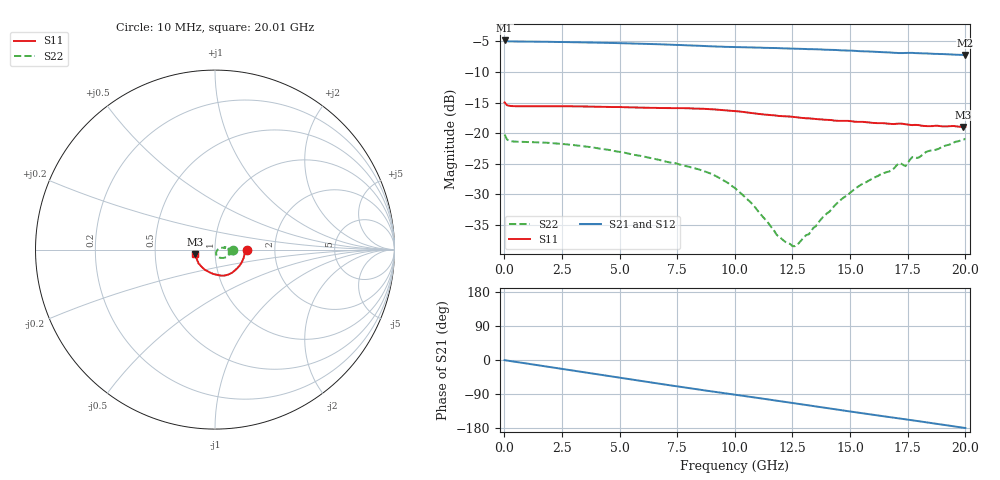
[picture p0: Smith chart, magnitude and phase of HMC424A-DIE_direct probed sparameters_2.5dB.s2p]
!s2p File: Measurements: S11, S21, S12, S22
# GHz S dB R 50.0
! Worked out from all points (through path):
!   201 points, 10 MHz to 20.01 GHz, reference 50 ohm
!   highest |S21| = -4.84 dB at 10 MHz (marker M1); lowest = -7.2 dB at 20.01 GHz (marker M2)
!   group delay of S21, straight-line fit = 24.8 ps
!   lowest |S11| = -19.0 dB at 19.91 GHz (marker M3), VSWR 1.25, Z = 40.1 - j2.03 ohm
!   |S11| at or under -10 dB: start of sweep to end of sweep
!   |S22| runs from -38.5 to -20.2 dB; largest |S21 - S12| = 0.0032
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0.01  -14.96 -1.3  -4.84 -0.4  -4.83 -0.4  -20.21 -1.9
0.11  -15.41 -2.3  -4.95 -1.5  -4.95 -1.5  -21.00 -4.2
0.31  -15.56 -2.9  -5.00 -3.2  -5.00 -3.2  -21.31 -4.3
3.41  -15.63 -22.0  -5.15 -32.0  -5.15 -32.0  -22.11 -27.9
6.71  -15.88 -44.8  -5.46 -62.4  -5.47 -62.4  -24.35 -50.5
8.81  -16.04 -62.0  -5.78 -81.2  -5.78 -81.2  -26.38 -64.9
10.01  -16.39 -73.1  -5.92 -91.5  -5.93 -91.4  -28.97 -74.3
10.81  -16.73 -80.0  -5.99 -98.4  -6.00 -98.3  -31.78 -74.9
11.81  -17.13 -88.4  -6.08 -107.3  -6.10 -107.2  -36.56 -61.0
12.51  -17.32 -94.2  -6.17 -113.6  -6.18 -113.4  -38.46 -32.2
12.71  -17.41 -95.9  -6.18 -115.3  -6.20 -115.2  -38.24 -21.1
13.41  -17.63 -102.0  -6.27 -121.5  -6.29 -121.5  -35.47 4.7
14.41  -17.96 -111.2  -6.40 -130.4  -6.42 -130.3  -31.54 16.4
15.21  -18.12 -118.6  -6.54 -137.6  -6.54 -137.5  -29.09 16.1
16.71  -18.45 -134.5  -6.80 -150.5  -6.79 -150.4  -26.26 12.8
17.11  -18.43 -138.0  -6.90 -153.8  -6.84 -153.8  -24.94 11.7
17.41  -18.54 -142.1  -6.88 -156.2  -6.89 -156.4  -25.38 10.4
17.71  -18.67 -144.4  -6.87 -158.9  -6.91 -159.0  -23.90 9.3
18.01  -18.69 -147.8  -6.93 -161.8  -6.96 -161.6  -23.93 8.5
18.31  -18.83 -150.9  -6.96 -164.4  -6.99 -164.2  -23.05 7.5
19.91  -18.98 -167.1  -7.20 -178.6  -7.20 -178.5  -21.09 -2.9
20.01  -18.97 -167.9  -7.22 -179.5  -7.21 -179.3  -20.91 -3.7
